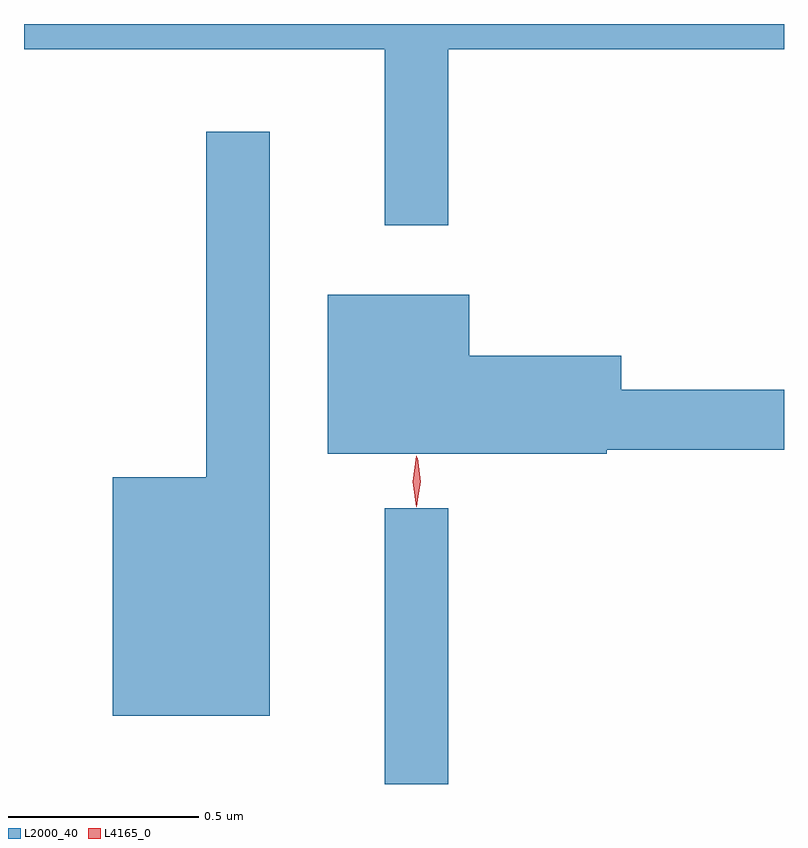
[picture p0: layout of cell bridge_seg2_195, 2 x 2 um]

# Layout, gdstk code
import gdstk
lib = gdstk.Library(unit=1e-6, precision=1e-09)
def R(c, l, rs):  # rectangles x0, y0, x1, y1
    for r in rs: c.add(gdstk.rectangle(r[:2], r[2:], *l))
def P(c, l, *ps):  # polygons
    for p in ps: c.add(gdstk.Polygon(p, *l))
L2000_40 = (2000, 40)
L4165_0 = (4165, 0)

bridge_seg2_195 = lib.new_cell('bridge_seg2_195')
R(bridge_seg2_195, L2000_40, [(812.451,1004.202,812.619,1004.928)])
P(bridge_seg2_195, L2000_40, [(812.619,1006.136),(813.502,1006.136),(813.502,1006.202),(811.502,1006.202),(811.502,1006.136),(812.451,1006.136),(812.451,1005.673),(812.619,1005.673)],
  [(812.149,1005.918),(811.981,1005.918),(811.981,1005.009),(811.736,1005.009),(811.736,1004.381),(812.149,1004.381)],
  [(813.035,1005.081),(813.502,1005.081),(813.502,1005.239),(813.074,1005.239),(813.074,1005.329),(812.674,1005.329),(812.674,1005.489),(812.301,1005.489),(812.301,1005.071),(813.035,1005.071)])
P(bridge_seg2_195, L4165_0, [(812.535,1004.934),(812.535,1004.934),(812.526,1004.997),(812.537,1005.059),(812.537,1005.06),(812.538,1005.059),(812.546,1004.997),(812.536,1004.934)],
  [(812.534,1004.931),(812.525,1004.998),(812.534,1005.065),(812.534,1005.066),(812.535,1005.065),(812.545,1004.998),(812.536,1004.931),(812.535,1004.931)])

lib.write_gds('bridge_seg2_195.gds')
